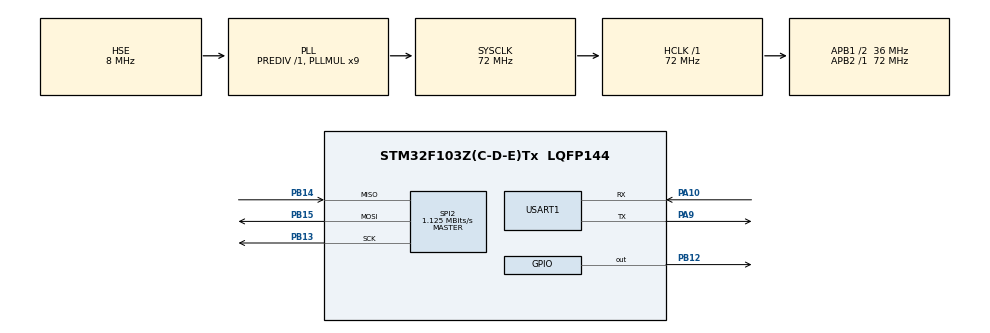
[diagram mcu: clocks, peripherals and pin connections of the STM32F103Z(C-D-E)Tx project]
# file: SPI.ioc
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Mcu.Family=STM32F1
Mcu.Name=STM32F103Z(C-D-E)Tx
Mcu.Package=LQFP144
NVIC.PriorityGroup=NVIC_PRIORITYGROUP_4
OSC_IN.Mode=HSE-External-Oscillator
OSC_IN.Signal=RCC_OSC_IN
OSC_OUT.Mode=HSE-External-Oscillator
OSC_OUT.Signal=RCC_OSC_OUT
PA10.Mode=Asynchronous
PA10.Signal=USART1_RX
PA13.Mode=Serial_Wire
PA13.Signal=SYS_JTMS-SWDIO
PA14.Mode=Serial_Wire
PA14.Signal=SYS_JTCK-SWCLK
PA9.Mode=Asynchronous
PA9.Signal=USART1_TX
PB12.GPIO_PuPd=GPIO_PULLUP
PB12.Signal=GPIO_Output
PB13.Mode=Full_Duplex_Master
PB13.Signal=SPI2_SCK
PB14.Mode=Full_Duplex_Master
PB14.Signal=SPI2_MISO
PB15.Mode=Full_Duplex_Master
PB15.Signal=SPI2_MOSI
ProjectManager.HeapSize=0x200
ProjectManager.StackSize=0x400
ProjectManager.TargetToolchain=MDK-ARM V5.27
RCC.AHBFreq_Value=72000000
RCC.APB1CLKDivider=RCC_HCLK_DIV2
RCC.APB1Freq_Value=36000000
RCC.APB1TimFreq_Value=72000000
RCC.APB2Freq_Value=72000000
RCC.APB2TimFreq_Value=72000000
RCC.HCLKFreq_Value=72000000
RCC.PLLMUL=RCC_PLL_MUL9
RCC.PLLSourceVirtual=RCC_PLLSOURCE_HSE
RCC.SYSCLKFreq_VALUE=72000000
RCC.SYSCLKSource=RCC_SYSCLKSOURCE_PLLCLK
RCC.USBFreq_Value=72000000
SPI2.BaudRatePrescaler=SPI_BAUDRATEPRESCALER_32
SPI2.CalculateBaudRate=1.125 MBits/s
SPI2.Direction=SPI_DIRECTION_2LINES
SPI2.Mode=SPI_MODE_MASTER
SPI2.VirtualType=VM_MASTER
USART1.VirtualMode=VM_ASYNC
board=custom

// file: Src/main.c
/* USER CODE BEGIN Header */
/**
  ******************************************************************************
  * @file           : main.c
  * @brief          : Main program body
  ******************************************************************************
  * @attention
  *
  * <h2><center>&copy; Copyright (c) 2020 STMicroelectronics.
  * All rights reserved.</center></h2>
  *
  * This software component is licensed by ST under BSD 3-Clause license,
  * the "License"; You may not use this file except in compliance with the
  * License. You may obtain a copy of the License at:
  *                        opensource.org/licenses/BSD-3-Clause
  *
  ******************************************************************************
  */
/* USER CODE END Header */

#include "main.h"
#include "spi.h"
#include "usart.h"
#include "gpio.h"

/* USER CODE BEGIN Includes */
#include "stdio.h"
#include "W25Qx.h"
/* USER CODE END Includes */

void SystemClock_Config(void);

/* USER CODE BEGIN 0 */

int fputc(int ch, FILE *f){
  HAL_UART_Transmit(&huart1, (uint8_t *)&ch, 1, 0xffff);
  return ch;
}

/* USER CODE END 0 */

int main(void)
{

  /* MCU Configuration--------------------------------------------------------*/

  /* Reset of all peripherals, Initializes the Flash interface and the Systick. */
  HAL_Init();

  /* Configure the system clock */
  SystemClock_Config();

  /* Initialize all configured peripherals */
  MX_GPIO_Init();
  MX_SPI2_Init();
  MX_USART1_UART_Init();
  /* USER CODE BEGIN 2 */
	printf("\r\n***************SPI Example *******************************\r\n");
	uint8_t Id[2];
	uint8_t TData[256];
	uint8_t RData[256];
	for(int i=0;i<256;i++) TData[i]=i;
	BSP_W25Qx_Init();
	BSP_W25Qx_Read_ID(Id);
	printf("0x%02X 0x%02X\n", Id[0], Id[1]);
	BSP_W25Qx_Erase_Block(0x000000);
	BSP_W25Qx_Write(TData,0x000000, 256);
	BSP_W25Qx_Read(RData,0x000000,256);
	for(int i=0;i<256;i++) printf("0x%02X  ", RData[i]);
	printf("\r\n");
  /* USER CODE END 2 */

  /* Infinite loop */
  while (1)
  {

  }
}

void SystemClock_Config(void)
{
  RCC_OscInitTypeDef RCC_OscInitStruct = {0};
  RCC_ClkInitTypeDef RCC_ClkInitStruct = {0};

  /** Initializes the CPU, AHB and APB busses clocks
  */
  RCC_OscInitStruct.OscillatorType = RCC_OSCILLATORTYPE_HSE;
  RCC_OscInitStruct.HSEState = RCC_HSE_ON;
  RCC_OscInitStruct.HSEPredivValue = RCC_HSE_PREDIV_DIV1;
  RCC_OscInitStruct.HSIState = RCC_HSI_ON;
  RCC_OscInitStruct.PLL.PLLState = RCC_PLL_ON;
  RCC_OscInitStruct.PLL.PLLSource = RCC_PLLSOURCE_HSE;
  RCC_OscInitStruct.PLL.PLLMUL = RCC_PLL_MUL9;
  if (HAL_RCC_OscConfig(&RCC_OscInitStruct) != HAL_OK)
  {
    Error_Handler();
  }
  /** Initializes the CPU, AHB and APB busses clocks
  */
  RCC_ClkInitStruct.ClockType = RCC_CLOCKTYPE_HCLK|RCC_CLOCKTYPE_SYSCLK
                              |RCC_CLOCKTYPE_PCLK1|RCC_CLOCKTYPE_PCLK2;
  RCC_ClkInitStruct.SYSCLKSource = RCC_SYSCLKSOURCE_PLLCLK;
  RCC_ClkInitStruct.AHBCLKDivider = RCC_SYSCLK_DIV1;
  RCC_ClkInitStruct.APB1CLKDivider = RCC_HCLK_DIV2;
  RCC_ClkInitStruct.APB2CLKDivider = RCC_HCLK_DIV1;

  if (HAL_RCC_ClockConfig(&RCC_ClkInitStruct, FLASH_LATENCY_2) != HAL_OK)
  {
    Error_Handler();
  }
}

void Error_Handler(void)
{
}

/************************ (C) COPYRIGHT STMicroelectronics *****END OF FILE****/
